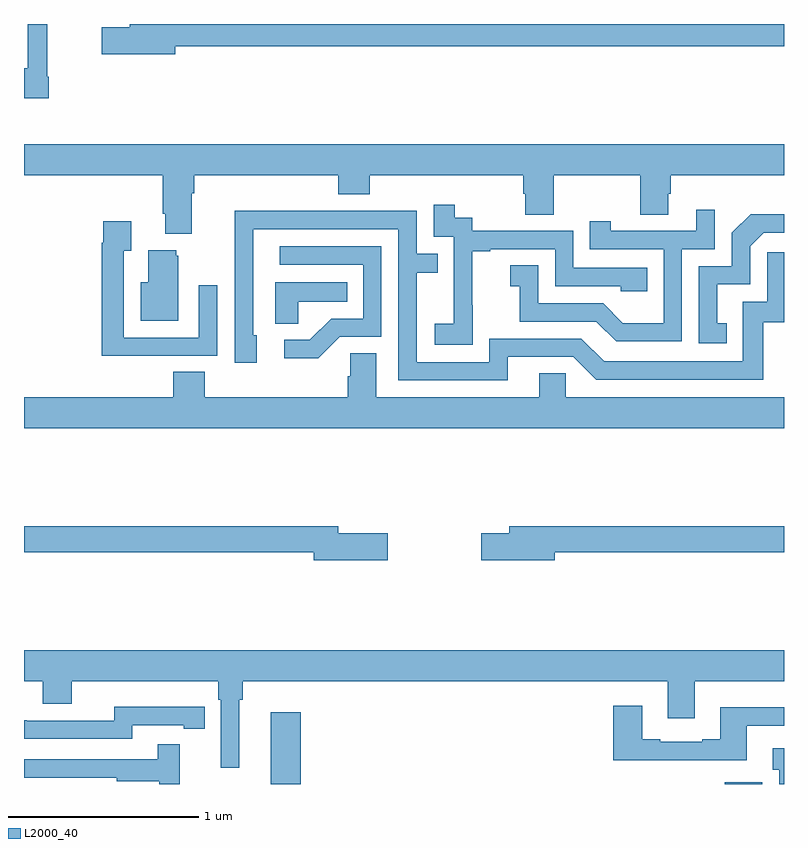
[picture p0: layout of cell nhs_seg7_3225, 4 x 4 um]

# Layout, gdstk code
import gdstk
lib = gdstk.Library(unit=1e-6, precision=1e-09)
def R(c, l, rs):  # rectangles x0, y0, x1, y1
    for r in rs: c.add(gdstk.rectangle(r[:2], r[2:], *l))
def P(c, l, *ps):  # polygons
    for p in ps: c.add(gdstk.Polygon(p, *l))
L2000_40 = (2000, 40)

nhs_seg7_3225 = lib.new_cell('nhs_seg7_3225')
R(nhs_seg7_3225, L2000_40, [(316.298,1076,316.457,1076.377), (318.689,1076,318.886,1076.008)])
P(nhs_seg7_3225, L2000_40, [(315.13,1079.722),(315.122,1079.722),(315.122,1080),(315.021,1080),(315.021,1079.766),(315,1079.766),(315,1079.61),(315.13,1079.61)],
  [(315.796,1079.884),(319,1079.884),(319,1080),(315.557,1080),(315.557,1079.984),(315.408,1079.984),(315.408,1079.842),(315.796,1079.842)],
  [(315,1079.204),(315.731,1079.204),(315.731,1079.002),(315.743,1079.002),(315.743,1078.895),(315.883,1078.895),(315.883,1079.108),(315.896,1079.108),(315.896,1079.204),(316.655,1079.204),(316.655,1079.105),(316.82,1079.105),(316.82,1079.204),(317.627,1079.204),(317.627,1079.106),(317.639,1079.106),(317.639,1078.996),(317.787,1078.996),(317.787,1079.204),(318.244,1079.204),(318.244,1078.996),(318.391,1078.996),(318.391,1079.106),(318.404,1079.106),(318.404,1079.204),(319,1079.204),(319,1079.368),(315,1079.368)],
  [(317.361,1078.519),(317.36,1078.519),(317.36,1078.803),(317.455,1078.803),(317.455,1078.815),(317.796,1078.815),(317.796,1078.62),(318.141,1078.62),(318.141,1078.593),(318.281,1078.593),(318.281,1078.716),(317.892,1078.716),(317.892,1078.911),(317.358,1078.911),(317.358,1078.98),(317.266,1078.98),(317.266,1079.05),(317.157,1079.05),(317.157,1078.881),(317.262,1078.881),(317.262,1078.652),(317.261,1078.652),(317.261,1078.423),(317.163,1078.423),(317.163,1078.313),(317.361,1078.313)],
  [(318.462,1078.815),(318.636,1078.815),(318.636,1079.023),(318.539,1079.023),(318.539,1078.911),(318.088,1078.911),(318.088,1078.963),(317.977,1078.963),(317.977,1078.815),(318.366,1078.815),(318.366,1078.426),(318.152,1078.426),(318.048,1078.53),(317.706,1078.53),(317.706,1078.729),(317.559,1078.729),(317.559,1078.619),(317.608,1078.619),(317.608,1078.434),(318.011,1078.434),(318.116,1078.329),(318.462,1078.329)],
  [(317.545,1078.248),(317.892,1078.248),(318.012,1078.128),(318.892,1078.128),(318.892,1078.431),(319,1078.431),(319,1078.798),(318.912,1078.798),(318.912,1078.539),(318.783,1078.539),(318.783,1078.224),(318.054,1078.224),(317.934,1078.344),(317.448,1078.344),(317.448,1078.221),(317.067,1078.221),(317.067,1078.69),(317.177,1078.69),(317.177,1078.791),(317.067,1078.791),(317.067,1079.016),(316.571,1079.016),(316.571,1079.018),(316.108,1079.018),(316.108,1078.711),(316.11,1078.711),(316.11,1078.218),(316.225,1078.218),(316.225,1078.362),(316.206,1078.362),(316.206,1078.92),(316.971,1078.92),(316.971,1078.125),(317.545,1078.125)],
  [(318.698,1078.425),(318.649,1078.425),(318.649,1078.629),(318.822,1078.629),(318.822,1078.83),(318.894,1078.902),(319,1078.902),(319,1079),(318.824,1079),(318.726,1078.902),(318.726,1078.725),(318.552,1078.725),(318.552,1078.32),(318.698,1078.32)],
  [(315.701,1078.254),(316.017,1078.254),(316.017,1078.624),(315.921,1078.624),(315.921,1078.35),(315.525,1078.35),(315.525,1078.807),(315.565,1078.807),(315.565,1078.963),(315.417,1078.963),(315.417,1078.85),(315.409,1078.85),(315.409,1078.253),(315.701,1078.253)],
  [(316.662,1078.353),(316.881,1078.353),(316.881,1078.83),(316.347,1078.83),(316.347,1078.734),(316.785,1078.734),(316.785,1078.449),(316.616,1078.449),(316.505,1078.338),(316.371,1078.338),(316.371,1078.241),(316.549,1078.241)],
  [(315.811,1078.779),(315.8,1078.779),(315.8,1078.81),(315.653,1078.81),(315.653,1078.642),(315.614,1078.642),(315.614,1078.439),(315.811,1078.439)],
  [(316.443,1078.538),(316.7,1078.538),(316.7,1078.642),(316.322,1078.642),(316.322,1078.423),(316.443,1078.423)],
  [(319,1078.036),(317.85,1078.036),(317.85,1078.163),(317.711,1078.163),(317.711,1078.036),(316.855,1078.036),(316.855,1078.268),(316.716,1078.268),(316.716,1078.145),(316.703,1078.145),(316.703,1078.036),(315.95,1078.036),(315.95,1078.169),(315.785,1078.169),(315.785,1078.036),(315,1078.036),(315,1077.872),(319,1077.872)],
  [(316.915,1077.32),(316.654,1077.32),(316.654,1077.356),(315,1077.356),(315,1077.22),(316.526,1077.22),(316.526,1077.178),(316.915,1077.178)],
  [(317.794,1077.22),(319,1077.22),(319,1077.356),(317.555,1077.356),(317.555,1077.32),(317.406,1077.32),(317.406,1077.178),(317.794,1077.178)],
  [(316.132,1076.444),(316.151,1076.444),(316.151,1076.54),(318.389,1076.54),(318.389,1076.346),(318.529,1076.346),(318.529,1076.54),(319,1076.54),(319,1076.704),(315,1076.704),(315,1076.54),(315.098,1076.54),(315.098,1076.423),(315.25,1076.423),(315.25,1076.54),(316.022,1076.54),(316.022,1076.444),(316.035,1076.444),(316.035,1076.085),(316.132,1076.085)],
  [(318.805,1076.307),(319,1076.307),(319,1076.404),(318.665,1076.404),(318.665,1076.236),(318.569,1076.236),(318.569,1076.223),(318.349,1076.223),(318.349,1076.236),(318.253,1076.236),(318.253,1076.413),(318.101,1076.413),(318.101,1076.126),(318.805,1076.126)],
  [(315.57,1076.31),(315.842,1076.31),(315.842,1076.29),(315.95,1076.29),(315.95,1076.406),(315.842,1076.406),(315.842,1076.407),(315.474,1076.407),(315.474,1076.334),(315.014,1076.334),(315.014,1076.336),(315,1076.336),(315,1076.238),(315.57,1076.238)],
  [(315.821,1076.209),(315.703,1076.209),(315.703,1076.13),(315,1076.13),(315,1076.034),(315.487,1076.034),(315.487,1076.014),(315.711,1076.014),(315.711,1076),(315.821,1076)],
  [(319,1076.188),(318.941,1076.188),(318.941,1076.075),(318.974,1076.075),(318.974,1076),(319,1076)])

lib.write_gds('nhs_seg7_3225.gds')
